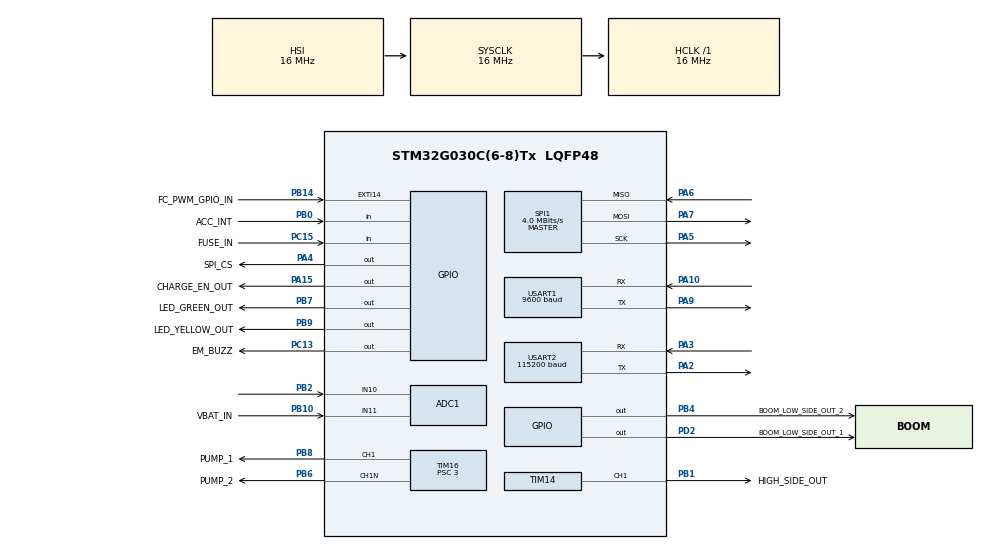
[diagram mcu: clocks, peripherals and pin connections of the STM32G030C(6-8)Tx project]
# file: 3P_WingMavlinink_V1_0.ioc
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ADC1.Channel-0\#ChannelRegularConversion=ADC_CHANNEL_VREFINT
ADC1.Channel-2\#ChannelRegularConversion=ADC_CHANNEL_11
ADC1.ClockPrescaler=ADC_CLOCK_SYNC_PCLK_DIV4
ADC1.DMAContinuousRequests=ENABLE
ADC1.DiscontinuousConvMode=DISABLE
ADC1.EOCSelection=ADC_EOC_SEQ_CONV
ADC1.EnableAnalogWatchDog1=false
ADC1.EnableAnalogWatchDog2=false
ADC1.NbrOfConversion=2
ADC1.NbrOfConversionFlag=1
ADC1.Rank-0\#ChannelRegularConversion=1
ADC1.Rank-2\#ChannelRegularConversion=2
ADC1.SamplingTime-0\#ChannelRegularConversion=ADC_SAMPLINGTIME_COMMON_1
ADC1.SamplingTime-2\#ChannelRegularConversion=ADC_SAMPLINGTIME_COMMON_1
ADC1.SamplingTimeCommon1=ADC_SAMPLETIME_39CYCLES_5
ADC1.SamplingTimeCommon2=ADC_SAMPLETIME_39CYCLES_5
ADC1.SelectedChannel=ADC_CHANNEL_VREFINT|ADC_CHANNEL_10|ADC_CHANNEL_11
ADC1.TriggerFrequencyMode=ADC_TRIGGER_FREQ_HIGH
ADC1.master=1
Dma.ADC1.2.Direction=DMA_PERIPH_TO_MEMORY
Dma.ADC1.2.EventEnable=DISABLE
Dma.ADC1.2.Instance=DMA1_Channel3
Dma.ADC1.2.MemDataAlignment=DMA_MDATAALIGN_HALFWORD
Dma.ADC1.2.MemInc=DMA_MINC_ENABLE
Dma.ADC1.2.Mode=DMA_NORMAL
Dma.ADC1.2.PeriphDataAlignment=DMA_PDATAALIGN_HALFWORD
Dma.ADC1.2.PeriphInc=DMA_PINC_DISABLE
Dma.ADC1.2.Polarity=HAL_DMAMUX_REQ_GEN_RISING
Dma.ADC1.2.Priority=DMA_PRIORITY_LOW
Dma.ADC1.2.RequestNumber=1
Dma.ADC1.2.SignalID=NONE
Dma.ADC1.2.SyncEnable=DISABLE
Dma.ADC1.2.SyncPolarity=HAL_DMAMUX_SYNC_NO_EVENT
Dma.ADC1.2.SyncRequestNumber=1
Dma.ADC1.2.SyncSignalID=NONE
Dma.Request0=SPI1_RX
Dma.Request1=SPI1_TX
Dma.Request2=ADC1
Dma.Request3=USART2_TX
Dma.SPI1_RX.0.Direction=DMA_PERIPH_TO_MEMORY
Dma.SPI1_RX.0.EventEnable=DISABLE
Dma.SPI1_RX.0.Instance=DMA1_Channel1
Dma.SPI1_RX.0.MemDataAlignment=DMA_MDATAALIGN_BYTE
Dma.SPI1_RX.0.MemInc=DMA_MINC_ENABLE
Dma.SPI1_RX.0.Mode=DMA_NORMAL
Dma.SPI1_RX.0.PeriphDataAlignment=DMA_PDATAALIGN_BYTE
Dma.SPI1_RX.0.PeriphInc=DMA_PINC_DISABLE
Dma.SPI1_RX.0.Polarity=HAL_DMAMUX_REQ_GEN_RISING
Dma.SPI1_RX.0.Priority=DMA_PRIORITY_LOW
Dma.SPI1_RX.0.RequestNumber=1
Dma.SPI1_RX.0.SignalID=NONE
Dma.SPI1_RX.0.SyncEnable=DISABLE
Dma.SPI1_RX.0.SyncPolarity=HAL_DMAMUX_SYNC_NO_EVENT
Dma.SPI1_RX.0.SyncRequestNumber=1
Dma.SPI1_RX.0.SyncSignalID=NONE
Dma.SPI1_TX.1.Direction=DMA_MEMORY_TO_PERIPH
Dma.SPI1_TX.1.EventEnable=DISABLE
Dma.SPI1_TX.1.Instance=DMA1_Channel2
Dma.SPI1_TX.1.MemDataAlignment=DMA_MDATAALIGN_BYTE
Dma.SPI1_TX.1.MemInc=DMA_MINC_ENABLE
Dma.SPI1_TX.1.Mode=DMA_NORMAL
Dma.SPI1_TX.1.PeriphDataAlignment=DMA_PDATAALIGN_BYTE
Dma.SPI1_TX.1.PeriphInc=DMA_PINC_DISABLE
Dma.SPI1_TX.1.Polarity=HAL_DMAMUX_REQ_GEN_RISING
Dma.SPI1_TX.1.Priority=DMA_PRIORITY_LOW
Dma.SPI1_TX.1.RequestNumber=1
Dma.SPI1_TX.1.SignalID=NONE
Dma.SPI1_TX.1.SyncEnable=DISABLE
Dma.SPI1_TX.1.SyncPolarity=HAL_DMAMUX_SYNC_NO_EVENT
Dma.SPI1_TX.1.SyncRequestNumber=1
Dma.SPI1_TX.1.SyncSignalID=NONE
Dma.USART2_TX.3.Direction=DMA_MEMORY_TO_PERIPH
Dma.USART2_TX.3.EventEnable=DISABLE
Dma.USART2_TX.3.Instance=DMA1_Channel4
Dma.USART2_TX.3.MemDataAlignment=DMA_MDATAALIGN_BYTE
Dma.USART2_TX.3.MemInc=DMA_MINC_ENABLE
Dma.USART2_TX.3.Mode=DMA_CIRCULAR
Dma.USART2_TX.3.PeriphDataAlignment=DMA_PDATAALIGN_BYTE
Dma.USART2_TX.3.PeriphInc=DMA_PINC_DISABLE
Dma.USART2_TX.3.Polarity=HAL_DMAMUX_REQ_GEN_RISING
Dma.USART2_TX.3.Priority=DMA_PRIORITY_LOW
Dma.USART2_TX.3.RequestNumber=1
Dma.USART2_TX.3.SignalID=NONE
Dma.USART2_TX.3.SyncEnable=DISABLE
Dma.USART2_TX.3.SyncPolarity=HAL_DMAMUX_SYNC_NO_EVENT
Dma.USART2_TX.3.SyncRequestNumber=1
Dma.USART2_TX.3.SyncSignalID=NONE
Mcu.Family=STM32G0
Mcu.Name=STM32G030C(6-8)Tx
Mcu.Package=LQFP48
NVIC.ADC1_IRQn=true\:0\:0\:false\:false\:true\:true\:true\:true
NVIC.DMA1_Ch4_5_DMAMUX1_OVR_IRQn=true\:0\:0\:false\:false\:true\:false\:true\:true
NVIC.DMA1_Channel1_IRQn=true\:0\:0\:false\:false\:true\:false\:true\:true
NVIC.DMA1_Channel2_3_IRQn=true\:0\:0\:false\:false\:true\:false\:true\:true
NVIC.EXTI4_15_IRQn=true\:0\:0\:false\:false\:true\:true\:true\:true
NVIC.TIM3_IRQn=true\:0\:0\:false\:false\:true\:true\:true\:true
NVIC.USART1_IRQn=true\:0\:0\:false\:false\:true\:true\:true\:true
NVIC.USART2_IRQn=true\:0\:0\:false\:false\:true\:true\:true\:true
PA10.GPIO_Speed=GPIO_SPEED_FREQ_MEDIUM
PA10.Mode=Asynchronous
PA10.Signal=USART1_RX
PA15.GPIO_Label=CHARGE_EN_OUT
PA15.Signal=GPIO_Output
PA2.GPIO_Speed=GPIO_SPEED_FREQ_MEDIUM
PA2.Mode=Asynchronous
PA2.Signal=USART2_TX
PA3.GPIO_PuPd=GPIO_NOPULL
PA3.GPIO_Speed=GPIO_SPEED_FREQ_MEDIUM
PA3.Mode=Asynchronous
PA3.Signal=USART2_RX
PA4.GPIO_Label=SPI_CS
PA4.Signal=GPIO_Output
PA5.GPIO_Speed=GPIO_SPEED_FREQ_VERY_HIGH
PA5.Mode=Full_Duplex_Master
PA5.Signal=SPI1_SCK
PA6.GPIO_PuPd=GPIO_NOPULL
PA6.GPIO_Speed=GPIO_SPEED_FREQ_VERY_HIGH
PA6.Mode=Full_Duplex_Master
PA6.Signal=SPI1_MISO
PA7.GPIO_Speed=GPIO_SPEED_FREQ_VERY_HIGH
PA7.Mode=Full_Duplex_Master
PA7.Signal=SPI1_MOSI
PA9.GPIO_Speed=GPIO_SPEED_FREQ_MEDIUM
PA9.Mode=Asynchronous
PA9.Signal=USART1_TX
PB0.GPIO_Label=ACC_INT
PB0.Signal=GPIO_Input
PB1.GPIO_Label=HIGH_SIDE_OUT
PB1.GPIO_PuPd=GPIO_NOPULL
PB1.GPIO_Speed=GPIO_SPEED_FREQ_MEDIUM
PB1.Signal=S_TIM14_CH1
PB10.GPIO_Label=VBAT_IN
PB10.Mode=IN11
PB10.Signal=ADC1_IN11
PB14.GPIO_Label=FC_PWM_GPIO_IN
PB14.Signal=GPXTI14
PB2.Mode=IN10
PB2.Signal=ADC1_IN10
PB4.GPIO_Label=BOOM_LOW_SIDE_OUT_2
PB4.Signal=GPIO_Output
PB6.GPIO_Label=PUMP_2
PB6.Mode=PWM Generation1 CH1 CH1N
PB6.Signal=TIM16_CH1N
PB7.GPIO_Label=LED_GREEN_OUT
PB7.Signal=GPIO_Output
PB8.GPIO_Label=PUMP_1
PB8.Signal=S_TIM16_CH1
PB9.GPIO_Label=LED_YELLOW_OUT
PB9.Signal=GPIO_Output
PC13.GPIO_Label=EM_BUZZ
PC13.Signal=GPIO_Output
PC15-OSC32_OUT\ (PC15).GPIO_Label=FUSE_IN
PC15-OSC32_OUT\ (PC15).GPIO_PuPd=GPIO_PULLDOWN
PC15-OSC32_OUT\ (PC15).Signal=GPIO_Input
PD2.GPIO_Label=BOOM_LOW_SIDE_OUT_1
PD2.Signal=GPIO_Output
ProjectManager.HeapSize=0x200
ProjectManager.StackSize=0x400
ProjectManager.TargetToolchain=CMake
RCC.ADCFreq_Value=16000000
RCC.AHBFreq_Value=16000000
RCC.CortexFreq_Value=16000000
RCC.EXTERNAL_CLOCK_VALUE=12288000
RCC.HCLKFreq_Value=16000000
RCC.HSE_VALUE=8000000
RCC.HSI_VALUE=16000000
RCC.LSE_VALUE=32768
RCC.SYSCLKFreq_VALUE=16000000
RCC.VCOOutputFreq_Value=128000000
SH.S_TIM14_CH1.0=TIM14_CH1,PWM Generation1 CH1
SH.S_TIM16_CH1.0=TIM16_CH1,PWM Generation1 CH1 CH1N
SPI1.BaudRatePrescaler=SPI_BAUDRATEPRESCALER_4
SPI1.CLKPhase=SPI_PHASE_2EDGE
SPI1.CLKPolarity=SPI_POLARITY_HIGH
SPI1.CalculateBaudRate=4.0 MBits/s
SPI1.Direction=SPI_DIRECTION_2LINES
SPI1.Mode=SPI_MODE_MASTER
SPI1.VirtualType=VM_MASTER
TIM1.Period=100
TIM1.Prescaler=3
TIM14.Channel=TIM_CHANNEL_1
TIM14.OCFastMode_PWM=TIM_OCFAST_ENABLE
TIM14.Period=28
TIM14.Prescaler=3
TIM14.Pulse=15
TIM16.Channel=TIM_CHANNEL_1
TIM16.OCMode_PWM=TIM_OCMODE_PWM2
TIM16.OCNPolarity_1=TIM_OCNPOLARITY_HIGH
TIM16.Period=100
TIM16.Prescaler=3
TIM16.Pulse=50
TIM17.Prescaler=160
TIM3.Period=9
TIM3.Prescaler=15999
USART1.BaudRate=9600
USART1.VirtualMode-Asynchronous=VM_ASYNC
USART2.BaudRate=115200
USART2.VirtualMode-Asynchronous=VM_ASYNC
VP_ADC1_Vref_Input.Mode=IN-Vrefint
VP_TIM14_VS_ClockSourceINT.Mode=Enable_Timer
VP_TIM16_VS_ClockSourceINT.Mode=Enable_Timer
VP_TIM17_VS_ClockSourceINT.Mode=Enable_Timer
VP_TIM1_VS_ClockSourceINT.Mode=Internal
VP_TIM3_VS_ClockSourceINT.Mode=Internal
board=custom

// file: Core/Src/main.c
/* USER CODE BEGIN Header */
/**
  ******************************************************************************
  * @file           : main.c
  * @brief          : Main program body
  ******************************************************************************
  * @attention
  *
  * Copyright (c) 2024 STMicroelectronics.
  * All rights reserved.
  *
  * This software is licensed under terms that can be found in the LICENSE file
  * in the root directory of this software component.
  * If no LICENSE file comes with this software, it is provided AS-IS.
  *
  ******************************************************************************
  */
/* USER CODE END Header */
#include "main.h"

/* USER CODE BEGIN Includes */
#include "app.h"
#include "solution_wrapper.h"
/* USER CODE END Includes */

ADC_HandleTypeDef hadc1;
DMA_HandleTypeDef hdma_adc1;

SPI_HandleTypeDef hspi1;
DMA_HandleTypeDef hdma_spi1_rx;
DMA_HandleTypeDef hdma_spi1_tx;

TIM_HandleTypeDef htim1;
TIM_HandleTypeDef htim3;
TIM_HandleTypeDef htim14;
TIM_HandleTypeDef htim16;
TIM_HandleTypeDef htim17;

UART_HandleTypeDef huart1;
UART_HandleTypeDef huart2;
DMA_HandleTypeDef hdma_usart2_tx;

void SystemClock_Config(void);
static void MX_GPIO_Init(void);
static void MX_DMA_Init(void);
static void MX_ADC1_Init(void);
static void MX_SPI1_Init(void);
static void MX_TIM14_Init(void);
static void MX_TIM16_Init(void);
static void MX_TIM3_Init(void);
static void MX_TIM17_Init(void);
static void MX_TIM1_Init(void);
static void MX_USART1_UART_Init(void);
static void MX_USART2_UART_Init(void);

int main(void)
{

  /* MCU Configuration--------------------------------------------------------*/

  /* Reset of all peripherals, Initializes the Flash interface and the Systick. */
  HAL_Init();

  /* Configure the system clock */
  SystemClock_Config();

  /* USER CODE BEGIN SysInit */
  MX_GPIO_Init();

#if START_UP_DELAY_ENABLE
  /* Provide delay before initialization to settle up power */
  HAL_Delay(100);
#endif
  /* USER CODE END SysInit */

  /* Initialize all configured peripherals */
  MX_GPIO_Init();
  MX_DMA_Init();
  MX_ADC1_Init();
  MX_SPI1_Init();
  MX_TIM14_Init();
  MX_TIM16_Init();
  MX_TIM3_Init();
  MX_TIM17_Init();
  MX_TIM1_Init();
  MX_USART1_UART_Init();
  MX_USART2_UART_Init();
  /* USER CODE BEGIN 2 */

  /* Init Solution HAL layer */
  Solution_HalInit();
  /* Init application layer */
  App_InitRun();

  /* USER CODE END 2 */

  /* Infinite loop */
  /* USER CODE BEGIN WHILE */

  while (1)
  {
	  App_Task ();
    /* USER CODE END WHILE */

  }
}

void SystemClock_Config(void)
{
  RCC_OscInitTypeDef RCC_OscInitStruct = {0};
  RCC_ClkInitTypeDef RCC_ClkInitStruct = {0};

  /** Configure the main internal regulator output voltage
  */
  HAL_PWREx_ControlVoltageScaling(PWR_REGULATOR_VOLTAGE_SCALE1);

  /** Initializes the RCC Oscillators according to the specified parameters
  * in the RCC_OscInitTypeDef structure.
  */
  RCC_OscInitStruct.OscillatorType = RCC_OSCILLATORTYPE_HSI;
  RCC_OscInitStruct.HSIState = RCC_HSI_ON;
  RCC_OscInitStruct.HSIDiv = RCC_HSI_DIV1;
  RCC_OscInitStruct.HSICalibrationValue = RCC_HSICALIBRATION_DEFAULT;
  RCC_OscInitStruct.PLL.PLLState = RCC_PLL_NONE;
  if (HAL_RCC_OscConfig(&RCC_OscInitStruct) != HAL_OK)
  {
    Error_Handler();
  }

  /** Initializes the CPU, AHB and APB buses clocks
  */
  RCC_ClkInitStruct.ClockType = RCC_CLOCKTYPE_HCLK|RCC_CLOCKTYPE_SYSCLK
                              |RCC_CLOCKTYPE_PCLK1;
  RCC_ClkInitStruct.SYSCLKSource = RCC_SYSCLKSOURCE_HSI;
  RCC_ClkInitStruct.AHBCLKDivider = RCC_SYSCLK_DIV1;
  RCC_ClkInitStruct.APB1CLKDivider = RCC_HCLK_DIV1;

  if (HAL_RCC_ClockConfig(&RCC_ClkInitStruct, FLASH_LATENCY_0) != HAL_OK)
  {
    Error_Handler();
  }
}

static void MX_ADC1_Init(void)
{

  ADC_ChannelConfTypeDef sConfig = {0};

  /** Configure the global features of the ADC (Clock, Resolution, Data Alignment and number of conversion)
  */
  hadc1.Instance = ADC1;
  hadc1.Init.ClockPrescaler = ADC_CLOCK_SYNC_PCLK_DIV4;
  hadc1.Init.Resolution = ADC_RESOLUTION_12B;
  hadc1.Init.DataAlign = ADC_DATAALIGN_RIGHT;
  hadc1.Init.ScanConvMode = ADC_SCAN_ENABLE;
  hadc1.Init.EOCSelection = ADC_EOC_SEQ_CONV;
  hadc1.Init.LowPowerAutoWait = DISABLE;
  hadc1.Init.LowPowerAutoPowerOff = DISABLE;
  hadc1.Init.ContinuousConvMode = DISABLE;
  hadc1.Init.NbrOfConversion = 2;
  hadc1.Init.DiscontinuousConvMode = DISABLE;
  hadc1.Init.ExternalTrigConv = ADC_SOFTWARE_START;
  hadc1.Init.ExternalTrigConvEdge = ADC_EXTERNALTRIGCONVEDGE_NONE;
  hadc1.Init.DMAContinuousRequests = ENABLE;
  hadc1.Init.Overrun = ADC_OVR_DATA_PRESERVED;
  hadc1.Init.SamplingTimeCommon1 = ADC_SAMPLETIME_39CYCLES_5;
  hadc1.Init.SamplingTimeCommon2 = ADC_SAMPLETIME_39CYCLES_5;
  hadc1.Init.OversamplingMode = DISABLE;
  hadc1.Init.TriggerFrequencyMode = ADC_TRIGGER_FREQ_HIGH;
  if (HAL_ADC_Init(&hadc1) != HAL_OK)
  {
    Error_Handler();
  }

  /** Configure Regular Channel
  */
  sConfig.Channel = ADC_CHANNEL_VREFINT;
  sConfig.Rank = ADC_REGULAR_RANK_1;
  sConfig.SamplingTime = ADC_SAMPLINGTIME_COMMON_1;
  if (HAL_ADC_ConfigChannel(&hadc1, &sConfig) != HAL_OK)
  {
    Error_Handler();
  }

  /** Configure Regular Channel
  */
  sConfig.Channel = ADC_CHANNEL_11;
  sConfig.Rank = ADC_REGULAR_RANK_2;
  if (HAL_ADC_ConfigChannel(&hadc1, &sConfig) != HAL_OK)
  {
    Error_Handler();
  }

}

static void MX_SPI1_Init(void)
{

  /* SPI1 parameter configuration*/
  hspi1.Instance = SPI1;
  hspi1.Init.Mode = SPI_MODE_MASTER;
  hspi1.Init.Direction = SPI_DIRECTION_2LINES;
  hspi1.Init.DataSize = SPI_DATASIZE_8BIT;
  hspi1.Init.CLKPolarity = SPI_POLARITY_HIGH;
  hspi1.Init.CLKPhase = SPI_PHASE_2EDGE;
  hspi1.Init.NSS = SPI_NSS_SOFT;
  hspi1.Init.BaudRatePrescaler = SPI_BAUDRATEPRESCALER_4;
  hspi1.Init.FirstBit = SPI_FIRSTBIT_MSB;
  hspi1.Init.TIMode = SPI_TIMODE_DISABLE;
  hspi1.Init.CRCCalculation = SPI_CRCCALCULATION_DISABLE;
  hspi1.Init.CRCPolynomial = 7;
  hspi1.Init.CRCLength = SPI_CRC_LENGTH_DATASIZE;
  hspi1.Init.NSSPMode = SPI_NSS_PULSE_DISABLE;
  if (HAL_SPI_Init(&hspi1) != HAL_OK)
  {
    Error_Handler();
  }
  /* USER CODE BEGIN SPI1_Init 2 */
  HAL_Delay(5);
  SPI_1LINE_TX(&hspi1);
  HAL_Delay(5);
  __HAL_SPI_ENABLE(&hspi1);
  /* USER CODE END SPI1_Init 2 */

}

static void MX_TIM1_Init(void)
{

  TIM_ClockConfigTypeDef sClockSourceConfig = {0};
  TIM_MasterConfigTypeDef sMasterConfig = {0};

  htim1.Instance = TIM1;
  htim1.Init.Prescaler = 3;
  htim1.Init.CounterMode = TIM_COUNTERMODE_UP;
  htim1.Init.Period = 100;
  htim1.Init.ClockDivision = TIM_CLOCKDIVISION_DIV1;
  htim1.Init.RepetitionCounter = 0;
  htim1.Init.AutoReloadPreload = TIM_AUTORELOAD_PRELOAD_DISABLE;
  if (HAL_TIM_Base_Init(&htim1) != HAL_OK)
  {
    Error_Handler();
  }
  sClockSourceConfig.ClockSource = TIM_CLOCKSOURCE_INTERNAL;
  if (HAL_TIM_ConfigClockSource(&htim1, &sClockSourceConfig) != HAL_OK)
  {
    Error_Handler();
  }
  sMasterConfig.MasterOutputTrigger = TIM_TRGO_RESET;
  sMasterConfig.MasterOutputTrigger2 = TIM_TRGO2_RESET;
  sMasterConfig.MasterSlaveMode = TIM_MASTERSLAVEMODE_DISABLE;
  if (HAL_TIMEx_MasterConfigSynchronization(&htim1, &sMasterConfig) != HAL_OK)
  {
    Error_Handler();
  }

}

static void MX_TIM3_Init(void)
{

  TIM_ClockConfigTypeDef sClockSourceConfig = {0};
  TIM_MasterConfigTypeDef sMasterConfig = {0};

  htim3.Instance = TIM3;
  htim3.Init.Prescaler = 15999;
  htim3.Init.CounterMode = TIM_COUNTERMODE_UP;
  htim3.Init.Period = 9;
  htim3.Init.ClockDivision = TIM_CLOCKDIVISION_DIV1;
  htim3.Init.AutoReloadPreload = TIM_AUTORELOAD_PRELOAD_DISABLE;
  if (HAL_TIM_Base_Init(&htim3) != HAL_OK)
  {
    Error_Handler();
  }
  sClockSourceConfig.ClockSource = TIM_CLOCKSOURCE_INTERNAL;
  if (HAL_TIM_ConfigClockSource(&htim3, &sClockSourceConfig) != HAL_OK)
  {
    Error_Handler();
  }
  sMasterConfig.MasterOutputTrigger = TIM_TRGO_RESET;
  sMasterConfig.MasterSlaveMode = TIM_MASTERSLAVEMODE_DISABLE;
  if (HAL_TIMEx_MasterConfigSynchronization(&htim3, &sMasterConfig) != HAL_OK)
  {
    Error_Handler();
  }

}

static void MX_TIM14_Init(void)
{

  TIM_OC_InitTypeDef sConfigOC = {0};

  htim14.Instance = TIM14;
  htim14.Init.Prescaler = 3;
  htim14.Init.CounterMode = TIM_COUNTERMODE_UP;
  htim14.Init.Period = 28;
  htim14.Init.ClockDivision = TIM_CLOCKDIVISION_DIV1;
  htim14.Init.AutoReloadPreload = TIM_AUTORELOAD_PRELOAD_DISABLE;
  if (HAL_TIM_Base_Init(&htim14) != HAL_OK)
  {
    Error_Handler();
  }
  if (HAL_TIM_PWM_Init(&htim14) != HAL_OK)
  {
    Error_Handler();
  }
  sConfigOC.OCMode = TIM_OCMODE_PWM1;
  sConfigOC.Pulse = 15;
  sConfigOC.OCPolarity = TIM_OCPOLARITY_HIGH;
  sConfigOC.OCFastMode = TIM_OCFAST_ENABLE;
  if (HAL_TIM_PWM_ConfigChannel(&htim14, &sConfigOC, TIM_CHANNEL_1) != HAL_OK)
  {
    Error_Handler();
  }
  HAL_TIM_MspPostInit(&htim14);

}

static void MX_TIM16_Init(void)
{

  TIM_OC_InitTypeDef sConfigOC = {0};
  TIM_BreakDeadTimeConfigTypeDef sBreakDeadTimeConfig = {0};

  htim16.Instance = TIM16;
  htim16.Init.Prescaler = 3;
  htim16.Init.CounterMode = TIM_COUNTERMODE_UP;
  htim16.Init.Period = 100;
  htim16.Init.ClockDivision = TIM_CLOCKDIVISION_DIV1;
  htim16.Init.RepetitionCounter = 0;
  htim16.Init.AutoReloadPreload = TIM_AUTORELOAD_PRELOAD_DISABLE;
  if (HAL_TIM_Base_Init(&htim16) != HAL_OK)
  {
    Error_Handler();
  }
  if (HAL_TIM_PWM_Init(&htim16) != HAL_OK)
  {
    Error_Handler();
  }
  sConfigOC.OCMode = TIM_OCMODE_PWM2;
  sConfigOC.Pulse = 50;
  sConfigOC.OCPolarity = TIM_OCPOLARITY_HIGH;
  sConfigOC.OCNPolarity = TIM_OCNPOLARITY_HIGH;
  sConfigOC.OCFastMode = TIM_OCFAST_DISABLE;
  sConfigOC.OCIdleState = TIM_OCIDLESTATE_RESET;
  sConfigOC.OCNIdleState = TIM_OCNIDLESTATE_RESET;
  if (HAL_TIM_PWM_ConfigChannel(&htim16, &sConfigOC, TIM_CHANNEL_1) != HAL_OK)
  {
    Error_Handler();
  }
  sBreakDeadTimeConfig.OffStateRunMode = TIM_OSSR_DISABLE;
  sBreakDeadTimeConfig.OffStateIDLEMode = TIM_OSSI_DISABLE;
  sBreakDeadTimeConfig.LockLevel = TIM_LOCKLEVEL_OFF;
  sBreakDeadTimeConfig.DeadTime = 0;
  sBreakDeadTimeConfig.BreakState = TIM_BREAK_DISABLE;
  sBreakDeadTimeConfig.BreakPolarity = TIM_BREAKPOLARITY_HIGH;
  sBreakDeadTimeConfig.BreakFilter = 0;
  sBreakDeadTimeConfig.AutomaticOutput = TIM_AUTOMATICOUTPUT_DISABLE;
  if (HAL_TIMEx_ConfigBreakDeadTime(&htim16, &sBreakDeadTimeConfig) != HAL_OK)
  {
    Error_Handler();
  }
  HAL_TIM_MspPostInit(&htim16);

}

static void MX_TIM17_Init(void)
{

  /* USER CODE BEGIN TIM17_Init 0 */
#if (CONTROL_MODE != PWM_CTRL_SUPP)
	/* Do not configure Timer for PWM control id not defined */
	return;
#endif
  /* USER CODE END TIM17_Init 0 */

  htim17.Instance = TIM17;
  htim17.Init.Prescaler = 160;
  htim17.Init.CounterMode = TIM_COUNTERMODE_UP;
  htim17.Init.Period = 65535;
  htim17.Init.ClockDivision = TIM_CLOCKDIVISION_DIV1;
  htim17.Init.RepetitionCounter = 0;
  htim17.Init.AutoReloadPreload = TIM_AUTORELOAD_PRELOAD_DISABLE;
  if (HAL_TIM_Base_Init(&htim17) != HAL_OK)
  {
    Error_Handler();
  }

}

static void MX_USART1_UART_Init(void)
{

  huart1.Instance = USART1;
  huart1.Init.BaudRate = 9600;
  huart1.Init.WordLength = UART_WORDLENGTH_8B;
  huart1.Init.StopBits = UART_STOPBITS_1;
  huart1.Init.Parity = UART_PARITY_NONE;
  huart1.Init.Mode = UART_MODE_TX_RX;
  huart1.Init.HwFlowCtl = UART_HWCONTROL_NONE;
  huart1.Init.OverSampling = UART_OVERSAMPLING_16;
  huart1.Init.OneBitSampling = UART_ONE_BIT_SAMPLE_DISABLE;
  huart1.Init.ClockPrescaler = UART_PRESCALER_DIV1;
  huart1.AdvancedInit.AdvFeatureInit = UART_ADVFEATURE_NO_INIT;
  if (HAL_UART_Init(&huart1) != HAL_OK)
  {
    Error_Handler();
  }
  if (HAL_UARTEx_SetTxFifoThreshold(&huart1, UART_TXFIFO_THRESHOLD_1_8) != HAL_OK)
  {
    Error_Handler();
  }
  if (HAL_UARTEx_SetRxFifoThreshold(&huart1, UART_RXFIFO_THRESHOLD_1_8) != HAL_OK)
  {
    Error_Handler();
  }
  if (HAL_UARTEx_DisableFifoMode(&huart1) != HAL_OK)
  {
    Error_Handler();
  }

}

static void MX_USART2_UART_Init(void)
{

  huart2.Instance = USART2;
  huart2.Init.BaudRate = 115200;
  huart2.Init.WordLength = UART_WORDLENGTH_8B;
  huart2.Init.StopBits = UART_STOPBITS_1;
  huart2.Init.Parity = UART_PARITY_NONE;
  huart2.Init.Mode = UART_MODE_TX_RX;
  huart2.Init.HwFlowCtl = UART_HWCONTROL_NONE;
  huart2.Init.OverSampling = UART_OVERSAMPLING_16;
  huart2.Init.OneBitSampling = UART_ONE_BIT_SAMPLE_DISABLE;
  huart2.Init.ClockPrescaler = UART_PRESCALER_DIV1;
  huart2.AdvancedInit.AdvFeatureInit = UART_ADVFEATURE_NO_INIT;
  if (HAL_UART_Init(&huart2) != HAL_OK)
  {
    Error_Handler();
  }

}

static void MX_DMA_Init(void)
{

  /* DMA controller clock enable */
  __HAL_RCC_DMA1_CLK_ENABLE();

  /* DMA interrupt init */
  /* DMA1_Channel1_IRQn interrupt configuration */
  HAL_NVIC_SetPriority(DMA1_Channel1_IRQn, 0, 0);
  HAL_NVIC_EnableIRQ(DMA1_Channel1_IRQn);
  /* DMA1_Channel2_3_IRQn interrupt configuration */
  HAL_NVIC_SetPriority(DMA1_Channel2_3_IRQn, 0, 0);
  HAL_NVIC_EnableIRQ(DMA1_Channel2_3_IRQn);
  /* DMA1_Ch4_5_DMAMUX1_OVR_IRQn interrupt configuration */
  HAL_NVIC_SetPriority(DMA1_Ch4_5_DMAMUX1_OVR_IRQn, 0, 0);
  HAL_NVIC_EnableIRQ(DMA1_Ch4_5_DMAMUX1_OVR_IRQn);

}

static void MX_GPIO_Init(void)
{
  GPIO_InitTypeDef GPIO_InitStruct = {0};

  /* GPIO Ports Clock Enable */
  __HAL_RCC_GPIOC_CLK_ENABLE();
  __HAL_RCC_GPIOA_CLK_ENABLE();
  __HAL_RCC_GPIOB_CLK_ENABLE();
  __HAL_RCC_GPIOD_CLK_ENABLE();

  /*Configure GPIO pin Output Level */
  HAL_GPIO_WritePin(EM_BUZZ_GPIO_Port, EM_BUZZ_Pin, GPIO_PIN_RESET);

  /*Configure GPIO pin Output Level */
  HAL_GPIO_WritePin(GPIOA, SPI_CS_Pin|CHARGE_EN_OUT_Pin, GPIO_PIN_RESET);

  /*Configure GPIO pin Output Level */
  HAL_GPIO_WritePin(BOOM_LOW_SIDE_OUT_1_GPIO_Port, BOOM_LOW_SIDE_OUT_1_Pin, GPIO_PIN_RESET);

  /*Configure GPIO pin Output Level */
  HAL_GPIO_WritePin(GPIOB, BOOM_LOW_SIDE_OUT_2_Pin|LED_GREEN_OUT_Pin|LED_YELLOW_OUT_Pin, GPIO_PIN_RESET);

  /*Configure GPIO pin : EM_BUZZ_Pin */
  GPIO_InitStruct.Pin = EM_BUZZ_Pin;
  GPIO_InitStruct.Mode = GPIO_MODE_OUTPUT_PP;
  GPIO_InitStruct.Pull = GPIO_NOPULL;
  GPIO_InitStruct.Speed = GPIO_SPEED_FREQ_LOW;
  HAL_GPIO_Init(EM_BUZZ_GPIO_Port, &GPIO_InitStruct);

  /*Configure GPIO pin : FUSE_IN_Pin */
  GPIO_InitStruct.Pin = FUSE_IN_Pin;
  GPIO_InitStruct.Mode = GPIO_MODE_INPUT;
  GPIO_InitStruct.Pull = GPIO_PULLDOWN;
  HAL_GPIO_Init(FUSE_IN_GPIO_Port, &GPIO_InitStruct);

  /*Configure GPIO pins : SPI_CS_Pin CHARGE_EN_OUT_Pin */
  GPIO_InitStruct.Pin = SPI_CS_Pin|CHARGE_EN_OUT_Pin;
  GPIO_InitStruct.Mode = GPIO_MODE_OUTPUT_PP;
  GPIO_InitStruct.Pull = GPIO_NOPULL;
  GPIO_InitStruct.Speed = GPIO_SPEED_FREQ_LOW;
  HAL_GPIO_Init(GPIOA, &GPIO_InitStruct);

  /*Configure GPIO pin : ACC_INT_Pin */
  GPIO_InitStruct.Pin = ACC_INT_Pin;
  GPIO_InitStruct.Mode = GPIO_MODE_INPUT;
  GPIO_InitStruct.Pull = GPIO_NOPULL;
  HAL_GPIO_Init(ACC_INT_GPIO_Port, &GPIO_InitStruct);

  /*Configure GPIO pin : FC_PWM_GPIO_IN_Pin */
  GPIO_InitStruct.Pin = FC_PWM_GPIO_IN_Pin;
  GPIO_InitStruct.Mode = GPIO_MODE_IT_RISING;
  GPIO_InitStruct.Pull = GPIO_NOPULL;
  HAL_GPIO_Init(FC_PWM_GPIO_IN_GPIO_Port, &GPIO_InitStruct);

  /*Configure GPIO pin : BOOM_LOW_SIDE_OUT_1_Pin */
  GPIO_InitStruct.Pin = BOOM_LOW_SIDE_OUT_1_Pin;
  GPIO_InitStruct.Mode = GPIO_MODE_OUTPUT_PP;
  GPIO_InitStruct.Pull = GPIO_NOPULL;
  GPIO_InitStruct.Speed = GPIO_SPEED_FREQ_LOW;
  HAL_GPIO_Init(BOOM_LOW_SIDE_OUT_1_GPIO_Port, &GPIO_InitStruct);

  /*Configure GPIO pins : BOOM_LOW_SIDE_OUT_2_Pin LED_GREEN_OUT_Pin LED_YELLOW_OUT_Pin */
  GPIO_InitStruct.Pin = BOOM_LOW_SIDE_OUT_2_Pin|LED_GREEN_OUT_Pin|LED_YELLOW_OUT_Pin;
  GPIO_InitStruct.Mode = GPIO_MODE_OUTPUT_PP;
  GPIO_InitStruct.Pull = GPIO_NOPULL;
  GPIO_InitStruct.Speed = GPIO_SPEED_FREQ_LOW;
  HAL_GPIO_Init(GPIOB, &GPIO_InitStruct);

  /* EXTI interrupt init*/
  HAL_NVIC_SetPriority(EXTI4_15_IRQn, 0, 0);
  HAL_NVIC_EnableIRQ(EXTI4_15_IRQn);

}

void Error_Handler(void)
{
  __disable_irq();
  while (1)
  {
  }
}
